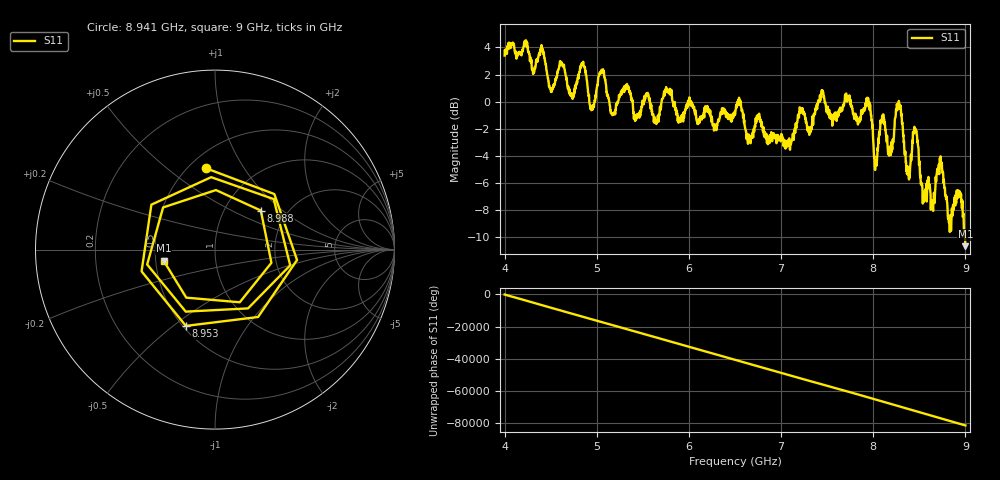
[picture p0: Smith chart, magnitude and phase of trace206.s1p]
! Created with skrf 1.8.0 (http://scikit-rf.org).
# Hz S RI R 50.0
!freq ReS11 ImS11
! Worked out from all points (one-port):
!   1601 points, 4 GHz to 9 GHz, reference 50 ohm
!   lowest |S11| = -10.7 dB at 9 GHz (marker M1), VSWR 1.83, Z = 27.6 - j3.74 ohm
!   |S11| at or under -10 dB: 8.995933 GHz to end of sweep
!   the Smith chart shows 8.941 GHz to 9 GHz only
!   S11 on the Smith chart (normalised r, x): 8.941 GHz: 0.61, +0.69; 8.953 GHz: 0.52, -0.56; 8.988 GHz: 1.47, +0.72; 9 GHz: 0.55, -0.07
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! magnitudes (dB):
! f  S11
! 4 GHz  3.4
! 4.406 GHz  3.9
! 4.506 GHz  0.8
! 4.625 GHz  2.8
! 4.731 GHz  0.5
! 4.853 GHz  2.9
! 4.944 GHz  -0.6
! 5.053 GHz  2.4
! 5.169 GHz  -1.0
! 5.25 GHz  0.5
! 5.875 GHz  -0.9
! 6.5 GHz  -1.0
! 7.125 GHz  -2.5
! 7.444 GHz  0.8
! 7.75 GHz  -0.2
! 7.947 GHz  0.1
! 8.028 GHz  -4.6
! 8.194 GHz  -3.4
! 8.281 GHz  -0.1
! 8.375 GHz  -5.1
! 8.456 GHz  -2.2
! 8.559 GHz  -6.8
! 8.725 GHz  -4.3
! 8.834 GHz  -8.4
! 8.941 GHz  -6.8
! 8.953 GHz  -6.8
! 8.988 GHz  -9.5
! 9 GHz  -10.7
